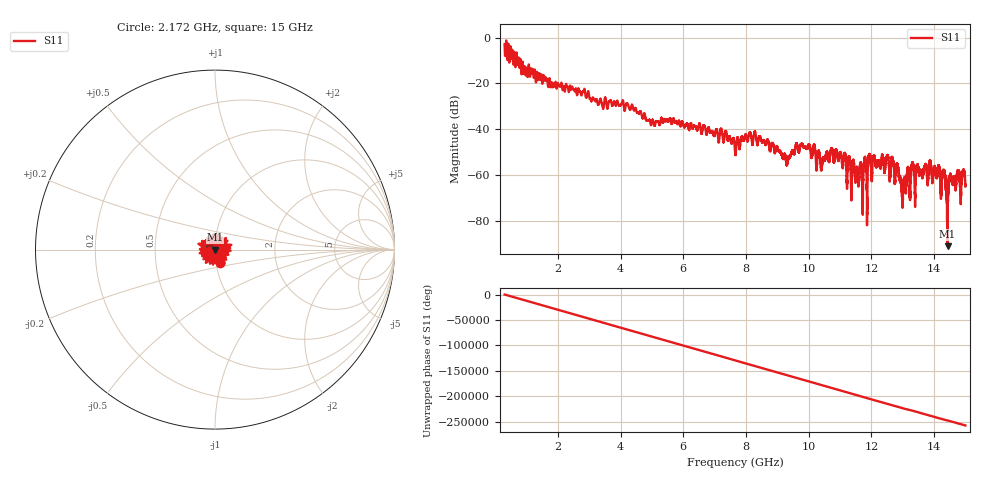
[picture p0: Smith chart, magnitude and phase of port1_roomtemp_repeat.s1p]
# GHZ S RI R 50.0
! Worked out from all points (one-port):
!   12801 points, 300 MHz to 15 GHz, reference 50 ohm
!   lowest |S11| = -91.0 dB at 14.43 GHz (marker M1), VSWR 1.00, Z = 50 - j0.000472 ohm
!   |S11| at or under -10 dB: 626.5 MHz to 665.4 MHz (38.87 MHz wide, 6.02 % of centre); 748.7 MHz to 794.3 MHz (45.59 MHz wide, 5.91 % of centre); 807 MHz to end of sweep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
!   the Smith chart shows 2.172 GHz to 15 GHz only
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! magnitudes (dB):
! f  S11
! 300 MHz  -2.9
! 969.5 MHz  -16.4
! 2.138 GHz  -22.1
! 3.407 GHz  -29.1
! 3.975 GHz  -29.7
! 5.027 GHz  -35.9
! 5.812 GHz  -37.7
! 7.4 GHz  -43.5
! 7.65 GHz  -49.2
! 8.115 GHz  -41.4
! 8.659 GHz  -45.6
! 9.257 GHz  -51.5
! 9.488 GHz  -49.3
! 9.979 GHz  -47.8
! 10.44 GHz  -53.0
! 10.92 GHz  -51.6
! 11.32 GHz  -55.0
! 11.66 GHz  -54.5
! 11.96 GHz  -51.8
! 12.5 GHz  -52.1
! 12.85 GHz  -57.2
! 12.96 GHz  -64.9
! 13.16 GHz  -57.3
! 13.9 GHz  -55.7
! 14.32 GHz  -57.6
! 14.43 GHz  -91.0
! 14.55 GHz  -61.9
! 15 GHz  -64.1
